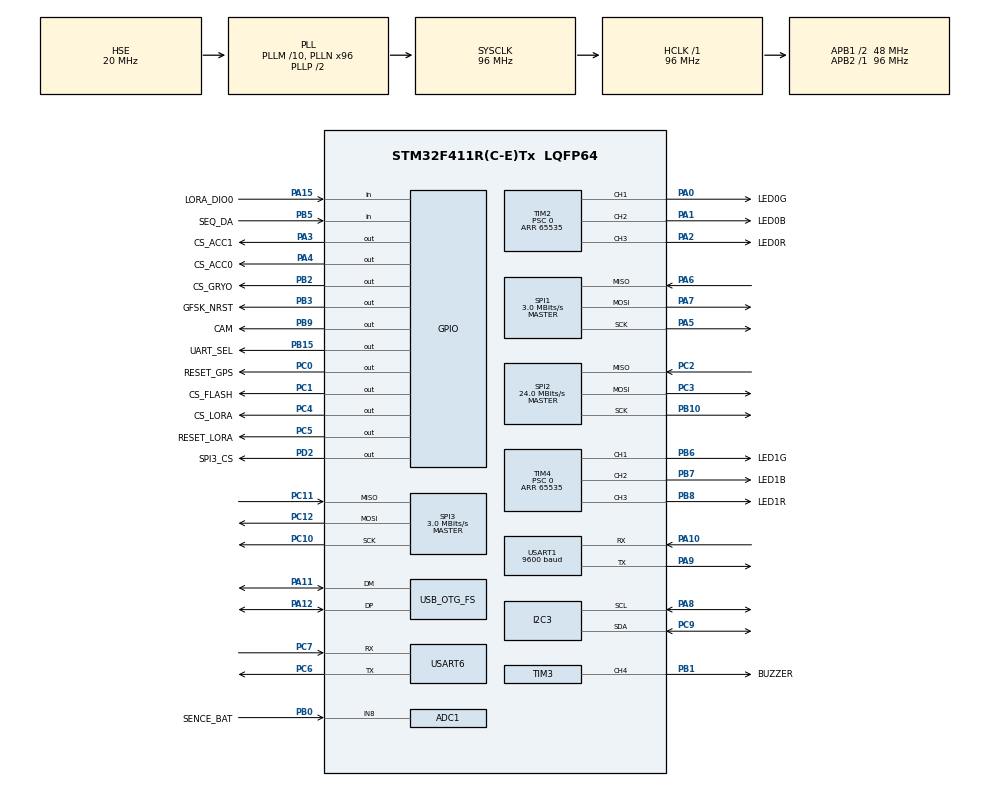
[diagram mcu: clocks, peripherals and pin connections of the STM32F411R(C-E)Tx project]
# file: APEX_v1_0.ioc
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ADC1.Channel-0\#ChannelRegularConversion=ADC_CHANNEL_8
ADC1.NbrOfConversionFlag=1
ADC1.Rank-0\#ChannelRegularConversion=1
ADC1.SamplingTime-0\#ChannelRegularConversion=ADC_SAMPLETIME_3CYCLES
ADC1.master=1
Dma.ADC1.8.Direction=DMA_PERIPH_TO_MEMORY
Dma.ADC1.8.FIFOMode=DMA_FIFOMODE_DISABLE
Dma.ADC1.8.Instance=DMA2_Stream4
Dma.ADC1.8.MemDataAlignment=DMA_MDATAALIGN_HALFWORD
Dma.ADC1.8.MemInc=DMA_MINC_ENABLE
Dma.ADC1.8.Mode=DMA_NORMAL
Dma.ADC1.8.PeriphDataAlignment=DMA_PDATAALIGN_HALFWORD
Dma.ADC1.8.PeriphInc=DMA_PINC_DISABLE
Dma.ADC1.8.Priority=DMA_PRIORITY_LOW
Dma.I2C3_RX.0.Direction=DMA_PERIPH_TO_MEMORY
Dma.I2C3_RX.0.FIFOMode=DMA_FIFOMODE_DISABLE
Dma.I2C3_RX.0.Instance=DMA1_Stream1
Dma.I2C3_RX.0.MemDataAlignment=DMA_MDATAALIGN_BYTE
Dma.I2C3_RX.0.MemInc=DMA_MINC_ENABLE
Dma.I2C3_RX.0.Mode=DMA_NORMAL
Dma.I2C3_RX.0.PeriphDataAlignment=DMA_PDATAALIGN_BYTE
Dma.I2C3_RX.0.PeriphInc=DMA_PINC_DISABLE
Dma.I2C3_RX.0.Priority=DMA_PRIORITY_LOW
Dma.I2C3_TX.1.Direction=DMA_MEMORY_TO_PERIPH
Dma.I2C3_TX.1.FIFOMode=DMA_FIFOMODE_DISABLE
Dma.I2C3_TX.1.Instance=DMA1_Stream5
Dma.I2C3_TX.1.MemDataAlignment=DMA_MDATAALIGN_BYTE
Dma.I2C3_TX.1.MemInc=DMA_MINC_ENABLE
Dma.I2C3_TX.1.Mode=DMA_NORMAL
Dma.I2C3_TX.1.PeriphDataAlignment=DMA_PDATAALIGN_BYTE
Dma.I2C3_TX.1.PeriphInc=DMA_PINC_DISABLE
Dma.I2C3_TX.1.Priority=DMA_PRIORITY_LOW
Dma.Request0=I2C3_RX
Dma.Request1=I2C3_TX
Dma.Request10=USART6_TX
Dma.Request11=SPI3_RX
Dma.Request12=SPI3_TX
Dma.Request2=SPI1_RX
Dma.Request3=SPI1_TX
Dma.Request4=SPI2_RX
Dma.Request5=SPI2_TX
Dma.Request6=USART1_RX
Dma.Request7=USART1_TX
Dma.Request8=ADC1
Dma.Request9=USART6_RX
Dma.SPI1_RX.2.Direction=DMA_PERIPH_TO_MEMORY
Dma.SPI1_RX.2.FIFOMode=DMA_FIFOMODE_DISABLE
Dma.SPI1_RX.2.Instance=DMA2_Stream0
Dma.SPI1_RX.2.MemDataAlignment=DMA_MDATAALIGN_BYTE
Dma.SPI1_RX.2.MemInc=DMA_MINC_ENABLE
Dma.SPI1_RX.2.Mode=DMA_NORMAL
Dma.SPI1_RX.2.PeriphDataAlignment=DMA_PDATAALIGN_BYTE
Dma.SPI1_RX.2.PeriphInc=DMA_PINC_DISABLE
Dma.SPI1_RX.2.Priority=DMA_PRIORITY_LOW
Dma.SPI1_TX.3.Direction=DMA_MEMORY_TO_PERIPH
Dma.SPI1_TX.3.FIFOMode=DMA_FIFOMODE_DISABLE
Dma.SPI1_TX.3.Instance=DMA2_Stream2
Dma.SPI1_TX.3.MemDataAlignment=DMA_MDATAALIGN_BYTE
Dma.SPI1_TX.3.MemInc=DMA_MINC_ENABLE
Dma.SPI1_TX.3.Mode=DMA_NORMAL
Dma.SPI1_TX.3.PeriphDataAlignment=DMA_PDATAALIGN_BYTE
Dma.SPI1_TX.3.PeriphInc=DMA_PINC_DISABLE
Dma.SPI1_TX.3.Priority=DMA_PRIORITY_LOW
Dma.SPI2_RX.4.Direction=DMA_PERIPH_TO_MEMORY
Dma.SPI2_RX.4.FIFOMode=DMA_FIFOMODE_DISABLE
Dma.SPI2_RX.4.Instance=DMA1_Stream3
Dma.SPI2_RX.4.MemDataAlignment=DMA_MDATAALIGN_BYTE
Dma.SPI2_RX.4.MemInc=DMA_MINC_ENABLE
Dma.SPI2_RX.4.Mode=DMA_NORMAL
Dma.SPI2_RX.4.PeriphDataAlignment=DMA_PDATAALIGN_BYTE
Dma.SPI2_RX.4.PeriphInc=DMA_PINC_DISABLE
Dma.SPI2_RX.4.Priority=DMA_PRIORITY_LOW
Dma.SPI2_TX.5.Direction=DMA_MEMORY_TO_PERIPH
Dma.SPI2_TX.5.FIFOMode=DMA_FIFOMODE_DISABLE
Dma.SPI2_TX.5.Instance=DMA1_Stream4
Dma.SPI2_TX.5.MemDataAlignment=DMA_MDATAALIGN_BYTE
Dma.SPI2_TX.5.MemInc=DMA_MINC_ENABLE
Dma.SPI2_TX.5.Mode=DMA_NORMAL
Dma.SPI2_TX.5.PeriphDataAlignment=DMA_PDATAALIGN_BYTE
Dma.SPI2_TX.5.PeriphInc=DMA_PINC_DISABLE
Dma.SPI2_TX.5.Priority=DMA_PRIORITY_LOW
Dma.SPI3_RX.11.Direction=DMA_PERIPH_TO_MEMORY
Dma.SPI3_RX.11.FIFOMode=DMA_FIFOMODE_DISABLE
Dma.SPI3_RX.11.Instance=DMA1_Stream0
Dma.SPI3_RX.11.MemDataAlignment=DMA_MDATAALIGN_BYTE
Dma.SPI3_RX.11.MemInc=DMA_MINC_ENABLE
Dma.SPI3_RX.11.Mode=DMA_NORMAL
Dma.SPI3_RX.11.PeriphDataAlignment=DMA_PDATAALIGN_BYTE
Dma.SPI3_RX.11.PeriphInc=DMA_PINC_DISABLE
Dma.SPI3_RX.11.Priority=DMA_PRIORITY_LOW
Dma.SPI3_TX.12.Direction=DMA_MEMORY_TO_PERIPH
Dma.SPI3_TX.12.FIFOMode=DMA_FIFOMODE_DISABLE
Dma.SPI3_TX.12.Instance=DMA1_Stream7
Dma.SPI3_TX.12.MemDataAlignment=DMA_MDATAALIGN_BYTE
Dma.SPI3_TX.12.MemInc=DMA_MINC_ENABLE
Dma.SPI3_TX.12.Mode=DMA_NORMAL
Dma.SPI3_TX.12.PeriphDataAlignment=DMA_PDATAALIGN_BYTE
Dma.SPI3_TX.12.PeriphInc=DMA_PINC_DISABLE
Dma.SPI3_TX.12.Priority=DMA_PRIORITY_LOW
Dma.USART1_RX.6.Direction=DMA_PERIPH_TO_MEMORY
Dma.USART1_RX.6.FIFOMode=DMA_FIFOMODE_DISABLE
Dma.USART1_RX.6.Instance=DMA2_Stream5
Dma.USART1_RX.6.MemDataAlignment=DMA_MDATAALIGN_BYTE
Dma.USART1_RX.6.MemInc=DMA_MINC_ENABLE
Dma.USART1_RX.6.Mode=DMA_NORMAL
Dma.USART1_RX.6.PeriphDataAlignment=DMA_PDATAALIGN_BYTE
Dma.USART1_RX.6.PeriphInc=DMA_PINC_DISABLE
Dma.USART1_RX.6.Priority=DMA_PRIORITY_LOW
Dma.USART1_TX.7.Direction=DMA_MEMORY_TO_PERIPH
Dma.USART1_TX.7.FIFOMode=DMA_FIFOMODE_DISABLE
Dma.USART1_TX.7.Instance=DMA2_Stream7
Dma.USART1_TX.7.MemDataAlignment=DMA_MDATAALIGN_BYTE
Dma.USART1_TX.7.MemInc=DMA_MINC_ENABLE
Dma.USART1_TX.7.Mode=DMA_NORMAL
Dma.USART1_TX.7.PeriphDataAlignment=DMA_PDATAALIGN_BYTE
Dma.USART1_TX.7.PeriphInc=DMA_PINC_DISABLE
Dma.USART1_TX.7.Priority=DMA_PRIORITY_LOW
Dma.USART6_RX.9.Direction=DMA_PERIPH_TO_MEMORY
Dma.USART6_RX.9.FIFOMode=DMA_FIFOMODE_DISABLE
Dma.USART6_RX.9.Instance=DMA2_Stream1
Dma.USART6_RX.9.MemDataAlignment=DMA_MDATAALIGN_BYTE
Dma.USART6_RX.9.MemInc=DMA_MINC_ENABLE
Dma.USART6_RX.9.Mode=DMA_NORMAL
Dma.USART6_RX.9.PeriphDataAlignment=DMA_PDATAALIGN_BYTE
Dma.USART6_RX.9.PeriphInc=DMA_PINC_DISABLE
Dma.USART6_RX.9.Priority=DMA_PRIORITY_LOW
Dma.USART6_TX.10.Direction=DMA_MEMORY_TO_PERIPH
Dma.USART6_TX.10.FIFOMode=DMA_FIFOMODE_DISABLE
Dma.USART6_TX.10.Instance=DMA2_Stream6
Dma.USART6_TX.10.MemDataAlignment=DMA_MDATAALIGN_BYTE
Dma.USART6_TX.10.MemInc=DMA_MINC_ENABLE
Dma.USART6_TX.10.Mode=DMA_NORMAL
Dma.USART6_TX.10.PeriphDataAlignment=DMA_PDATAALIGN_BYTE
Dma.USART6_TX.10.PeriphInc=DMA_PINC_DISABLE
Dma.USART6_TX.10.Priority=DMA_PRIORITY_LOW
FREERTOS.INCLUDE_pcTaskGetTaskName=1
FREERTOS.INCLUDE_uxTaskGetStackHighWaterMark2=1
FREERTOS.INCLUDE_vTaskCleanUpResources=1
FREERTOS.INCLUDE_xEventGroupSetBitFromISR=1
FREERTOS.INCLUDE_xSemaphoreGetMutexHolder=1
FREERTOS.INCLUDE_xTaskAbortDelay=1
FREERTOS.INCLUDE_xTaskGetHandle=1
FREERTOS.Tasks01=defaultTask,24,128,StartDefaultTask,Default,NULL,Static,defaultTaskBuffer,defaultTaskControlBlock
FREERTOS.configGENERATE_RUN_TIME_STATS=1
FREERTOS.configRECORD_STACK_HIGH_ADDRESS=1
FREERTOS.configUSE_APPLICATION_TASK_TAG=1
FREERTOS.configUSE_NEWLIB_REENTRANT=0
FREERTOS.configUSE_POSIX_ERRNO=1
FREERTOS.configUSE_STATS_FORMATTING_FUNCTIONS=1
FREERTOS.configUSE_TICKLESS_IDLE=2
FREERTOS.copyHeapFile=1
Mcu.Family=STM32F4
Mcu.Name=STM32F411R(C-E)Tx
Mcu.Package=LQFP64
NVIC.DMA1_Stream0_IRQn=true\:5\:0\:false\:false\:true\:true\:false\:true\:true
NVIC.DMA1_Stream1_IRQn=true\:5\:0\:false\:false\:true\:true\:false\:true\:true
NVIC.DMA1_Stream3_IRQn=true\:5\:0\:false\:false\:true\:true\:false\:true\:true
NVIC.DMA1_Stream4_IRQn=true\:5\:0\:false\:false\:true\:true\:false\:true\:true
NVIC.DMA1_Stream5_IRQn=true\:5\:0\:false\:false\:true\:true\:false\:true\:true
NVIC.DMA1_Stream7_IRQn=true\:5\:0\:false\:false\:true\:true\:false\:true\:true
NVIC.DMA2_Stream0_IRQn=true\:5\:0\:false\:false\:true\:true\:false\:true\:true
NVIC.DMA2_Stream1_IRQn=true\:5\:0\:false\:false\:true\:true\:false\:true\:true
NVIC.DMA2_Stream2_IRQn=true\:5\:0\:false\:false\:true\:true\:false\:true\:true
NVIC.DMA2_Stream4_IRQn=true\:5\:0\:false\:false\:true\:true\:false\:true\:true
NVIC.DMA2_Stream5_IRQn=true\:5\:0\:false\:false\:true\:true\:false\:true\:true
NVIC.DMA2_Stream6_IRQn=true\:5\:0\:false\:false\:true\:true\:false\:true\:true
NVIC.DMA2_Stream7_IRQn=true\:5\:0\:false\:false\:true\:true\:false\:true\:true
NVIC.OTG_FS_IRQn=true\:5\:0\:false\:false\:true\:true\:false\:true\:true
NVIC.PriorityGroup=NVIC_PRIORITYGROUP_4
NVIC.SPI3_IRQn=true\:5\:0\:false\:false\:true\:true\:true\:true\:true
NVIC.TIM1_TRG_COM_TIM11_IRQn=true\:5\:0\:false\:false\:true\:true\:true\:true\:true
NVIC.USART1_IRQn=true\:5\:0\:false\:false\:true\:true\:true\:true\:true
NVIC.USART6_IRQn=true\:5\:0\:false\:false\:true\:true\:true\:true\:true
PA0-WKUP.GPIO_Label=LED0G
PA0-WKUP.Signal=S_TIM2_CH1_ETR
PA1.GPIO_Label=LED0B
PA1.Signal=S_TIM2_CH2
PA10.Mode=Asynchronous
PA10.Signal=USART1_RX
PA11.Mode=Device_Only
PA11.Signal=USB_OTG_FS_DM
PA12.Mode=Device_Only
PA12.Signal=USB_OTG_FS_DP
PA13.Mode=Serial_Wire
PA13.Signal=SYS_JTMS-SWDIO
PA14.Mode=Serial_Wire
PA14.Signal=SYS_JTCK-SWCLK
PA15.GPIO_Label=LORA_DIO0
PA15.Signal=GPIO_Input
PA2.GPIO_Label=LED0R
PA2.Signal=S_TIM2_CH3
PA3.GPIO_Label=CS_ACC1
PA3.PinState=GPIO_PIN_SET
PA3.Signal=GPIO_Output
PA4.GPIO_Label=CS_ACC0
PA4.PinState=GPIO_PIN_SET
PA4.Signal=GPIO_Output
PA5.Mode=Full_Duplex_Master
PA5.Signal=SPI1_SCK
PA6.Mode=Full_Duplex_Master
PA6.Signal=SPI1_MISO
PA7.Mode=Full_Duplex_Master
PA7.Signal=SPI1_MOSI
PA8.Mode=I2C
PA8.Signal=I2C3_SCL
PA9.Mode=Asynchronous
PA9.Signal=USART1_TX
PB0.GPIO_Label=SENCE_BAT
PB0.Signal=ADCx_IN8
PB1.GPIO_Label=BUZZER
PB1.Signal=S_TIM3_CH4
PB10.Mode=Full_Duplex_Master
PB10.Signal=SPI2_SCK
PB15.GPIO_Label=UART_SEL
PB15.Signal=GPIO_Output
PB2.GPIO_Label=CS_GRYO
PB2.PinState=GPIO_PIN_SET
PB2.Signal=GPIO_Output
PB3.GPIO_Label=GFSK_NRST
PB3.PinState=GPIO_PIN_SET
PB3.Signal=GPIO_Output
PB5.GPIO_Label=SEQ_DA
PB5.Signal=GPIO_Input
PB6.GPIO_Label=LED1G
PB6.Signal=S_TIM4_CH1
PB7.GPIO_Label=LED1B
PB7.Signal=S_TIM4_CH2
PB8.GPIO_Label=LED1R
PB8.Signal=S_TIM4_CH3
PB9.GPIO_Label=CAM
PB9.Signal=GPIO_Output
PC0.GPIO_Label=RESET_GPS
PC0.PinState=GPIO_PIN_SET
PC0.Signal=GPIO_Output
PC1.GPIO_Label=CS_FLASH
PC1.PinState=GPIO_PIN_SET
PC1.Signal=GPIO_Output
PC10.Mode=Full_Duplex_Master
PC10.Signal=SPI3_SCK
PC11.Mode=Full_Duplex_Master
PC11.Signal=SPI3_MISO
PC12.Mode=Full_Duplex_Master
PC12.Signal=SPI3_MOSI
PC14-OSC32_IN.Mode=LSE-External-Oscillator
PC14-OSC32_IN.Signal=RCC_OSC32_IN
PC15-OSC32_OUT.Mode=LSE-External-Oscillator
PC15-OSC32_OUT.Signal=RCC_OSC32_OUT
PC2.Mode=Full_Duplex_Master
PC2.Signal=SPI2_MISO
PC3.Mode=Full_Duplex_Master
PC3.Signal=SPI2_MOSI
PC4.GPIO_Label=CS_LORA
PC4.PinState=GPIO_PIN_SET
PC4.Signal=GPIO_Output
PC5.GPIO_Label=RESET_LORA
PC5.PinState=GPIO_PIN_SET
PC5.Signal=GPIO_Output
PC6.Mode=Asynchronous
PC6.Signal=USART6_TX
PC7.Mode=Asynchronous
PC7.Signal=USART6_RX
PC9.Mode=I2C
PC9.Signal=I2C3_SDA
PD2.GPIO_Label=SPI3_CS
PD2.PinState=GPIO_PIN_SET
PD2.Signal=GPIO_Output
PH0\ -\ OSC_IN.Mode=HSE-External-Oscillator
PH0\ -\ OSC_IN.Signal=RCC_OSC_IN
PH1\ -\ OSC_OUT.Mode=HSE-External-Oscillator
PH1\ -\ OSC_OUT.Signal=RCC_OSC_OUT
ProjectManager.HeapSize=0x200
ProjectManager.StackSize=0x400
ProjectManager.TargetToolchain=CMake
RCC.48MHZClocksFreq_Value=48000000
RCC.AHBFreq_Value=96000000
RCC.APB1CLKDivider=RCC_HCLK_DIV2
RCC.APB1Freq_Value=48000000
RCC.APB1TimFreq_Value=96000000
RCC.APB2Freq_Value=96000000
RCC.APB2TimFreq_Value=96000000
RCC.CortexFreq_Value=96000000
RCC.HCLKFreq_Value=96000000
RCC.HSE_VALUE=20000000
RCC.HSI_VALUE=16000000
RCC.PLLM=10
RCC.PLLN=96
RCC.SYSCLKFreq_VALUE=96000000
RCC.SYSCLKSource=RCC_SYSCLKSOURCE_PLLCLK
RCC.VCOOutputFreq_Value=192000000
SH.ADCx_IN8.0=ADC1_IN8,IN8
SH.S_TIM2_CH1_ETR.0=TIM2_CH1,PWM Generation1 CH1
SH.S_TIM2_CH2.0=TIM2_CH2,PWM Generation2 CH2
SH.S_TIM2_CH3.0=TIM2_CH3,PWM Generation3 CH3
SH.S_TIM3_CH4.0=TIM3_CH4,PWM Generation4 CH4
SH.S_TIM4_CH1.0=TIM4_CH1,PWM Generation1 CH1
SH.S_TIM4_CH2.0=TIM4_CH2,PWM Generation2 CH2
SH.S_TIM4_CH3.0=TIM4_CH3,PWM Generation3 CH3
SPI1.BaudRatePrescaler=SPI_BAUDRATEPRESCALER_32
SPI1.CalculateBaudRate=3.0 MBits/s
SPI1.Direction=SPI_DIRECTION_2LINES
SPI1.Mode=SPI_MODE_MASTER
SPI1.VirtualType=VM_MASTER
SPI2.CalculateBaudRate=24.0 MBits/s
SPI2.Direction=SPI_DIRECTION_2LINES
SPI2.Mode=SPI_MODE_MASTER
SPI2.VirtualType=VM_MASTER
SPI3.BaudRatePrescaler=SPI_BAUDRATEPRESCALER_16
SPI3.CalculateBaudRate=3.0 MBits/s
SPI3.Direction=SPI_DIRECTION_2LINES
SPI3.Mode=SPI_MODE_MASTER
SPI3.VirtualType=VM_MASTER
TIM2.Channel-PWM\ Generation1\ CH1=TIM_CHANNEL_1
TIM2.Channel-PWM\ Generation2\ CH2=TIM_CHANNEL_2
TIM2.Channel-PWM\ Generation3\ CH3=TIM_CHANNEL_3
TIM2.Period=65535
TIM2.Prescaler=0
TIM3.Channel-PWM\ Generation4\ CH4=TIM_CHANNEL_4
TIM3.Period=65535
TIM3.Prescaler=0
TIM4.Channel-PWM\ Generation1\ CH1=TIM_CHANNEL_1
TIM4.Channel-PWM\ Generation2\ CH2=TIM_CHANNEL_2
TIM4.Channel-PWM\ Generation3\ CH3=TIM_CHANNEL_3
TIM4.Period=65535
TIM4.Prescaler=0
TIM9.Period=65535-1
TIM9.Prescaler=1-1
USART1.BaudRate=9600
USART1.VirtualMode=VM_ASYNC
USART6.VirtualMode=VM_ASYNC
USB_DEVICE.CLASS_NAME_FS=CDC
USB_DEVICE.VirtualMode=Cdc
USB_DEVICE.VirtualModeFS=Cdc_FS
USB_OTG_FS.VirtualMode=Device_Only
VP_CRC_VS_CRC.Mode=CRC_Activate
VP_FREERTOS_VS_CMSIS_V2.Mode=CMSIS_V2
VP_TIM11_VS_ClockSourceINT.Mode=Enable_Timer
VP_TIM2_VS_ClockSourceINT.Mode=Internal
VP_TIM3_VS_ClockSourceINT.Mode=Internal
VP_TIM4_VS_ClockSourceINT.Mode=Internal
VP_TIM9_VS_ClockSourceINT.Mode=Internal
VP_USB_DEVICE_VS_USB_DEVICE_CDC_FS.Mode=CDC_FS
board=custom

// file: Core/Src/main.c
/* USER CODE BEGIN Header */
/**
 ******************************************************************************
 * @file           : main.c
 * @brief          : Main program body
 ******************************************************************************
 * @attention
 *
 * Copyright (c) 2025 STMicroelectronics.
 * All rights reserved.
 *
 * This software is licensed under terms that can be found in the LICENSE file
 * in the root directory of this software component.
 * If no LICENSE file comes with this software, it is provided AS-IS.
 *
 ******************************************************************************
 */
/* USER CODE END Header */
#include "main.h"
#include "cmsis_os.h"
#include "adc.h"
#include "crc.h"
#include "dma.h"
#include "i2c.h"
#include "spi.h"
#include "tim.h"
#include "usart.h"
#include "usb_device.h"
#include "gpio.h"

/* USER CODE BEGIN Includes */

#include "usbd_cdc_if.h"

#include "project.h"

#include "adc.h"
#include "crc.h"
#include "dma.h"
#include "i2c.h"
#include "spi.h"
#include "tim.h"
#include "usart.h"
#include "gpio.h"

/* USER CODE END Includes */

void SystemClock_Config(void);
void MX_FREERTOS_Init(void);
/* USER CODE BEGIN PFP */
const char TASK_Program_start_name[19] = "TASK_Program_start";
/* USER CODE END PFP */

int main(void)
{

  /* MCU Configuration--------------------------------------------------------*/

  /* Reset of all peripherals, Initializes the Flash interface and the Systick. */
  HAL_Init();

  /* Configure the system clock */
  SystemClock_Config();

  /* Initialize all configured peripherals */
  MX_GPIO_Init();
  MX_DMA_Init();
  MX_I2C3_Init();
  MX_SPI2_Init();
  MX_TIM2_Init();
  MX_TIM4_Init();
  MX_USART1_UART_Init();
  MX_ADC1_Init();
  MX_SPI1_Init();
  MX_TIM3_Init();
  MX_CRC_Init();
  MX_TIM11_Init();
  MX_TIM9_Init();
  MX_SPI3_Init();
  MX_USART6_UART_Init();
  /* USER CODE BEGIN 2 */

	// MX_USB_DEVICE_Init();

#if (APEX_CFG_SCHED_SEQ == 1)
	DRIVERS_CONFIG_init_result_t Drivers_Init_Seq_result;
	DRIVERS_CONFIG_init_seq(&Drivers_Init_Seq_result);
	// Later on, we can implement more specific error handling based on the
	// type of failure. DRIVERS_CONFIG_init_seq could return different error codes for
	// different initialization failures or write on struct saying which module is
	// init and which isn't, etc. For now, we just do a generic error handler.

	setup();

#endif

#if (APEX_CFG_SCHED_RTOS == 1)
  /* USER CODE END 2 */

  /* Init scheduler */
  osKernelInitialize();  /* Call init function for freertos objects (in cmsis_os2.c) */
  MX_FREERTOS_Init();

  /* Start scheduler */
  osKernelStart();

  /* We should never get here as control is now taken by the scheduler */

  /* Infinite loop */
  /* USER CODE BEGIN WHILE */
#endif

	while (1) {
#if (APEX_CFG_SCHED_SEQ == 1)
		loop();
#endif
    /* USER CODE END WHILE */

	}
}

void SystemClock_Config(void)
{
  RCC_OscInitTypeDef RCC_OscInitStruct = {0};
  RCC_ClkInitTypeDef RCC_ClkInitStruct = {0};

  /** Configure the main internal regulator output voltage
  */
  __HAL_RCC_PWR_CLK_ENABLE();
  __HAL_PWR_VOLTAGESCALING_CONFIG(PWR_REGULATOR_VOLTAGE_SCALE1);

  /** Initializes the RCC Oscillators according to the specified parameters
  * in the RCC_OscInitTypeDef structure.
  */
  RCC_OscInitStruct.OscillatorType = RCC_OSCILLATORTYPE_HSE;
  RCC_OscInitStruct.HSEState = RCC_HSE_ON;
  RCC_OscInitStruct.PLL.PLLState = RCC_PLL_ON;
  RCC_OscInitStruct.PLL.PLLSource = RCC_PLLSOURCE_HSE;
  RCC_OscInitStruct.PLL.PLLM = 10;
  RCC_OscInitStruct.PLL.PLLN = 96;
  RCC_OscInitStruct.PLL.PLLP = RCC_PLLP_DIV2;
  RCC_OscInitStruct.PLL.PLLQ = 4;
  if (HAL_RCC_OscConfig(&RCC_OscInitStruct) != HAL_OK)
  {
    Error_Handler();
  }

  /** Initializes the CPU, AHB and APB buses clocks
  */
  RCC_ClkInitStruct.ClockType = RCC_CLOCKTYPE_HCLK|RCC_CLOCKTYPE_SYSCLK
                              |RCC_CLOCKTYPE_PCLK1|RCC_CLOCKTYPE_PCLK2;
  RCC_ClkInitStruct.SYSCLKSource = RCC_SYSCLKSOURCE_PLLCLK;
  RCC_ClkInitStruct.AHBCLKDivider = RCC_SYSCLK_DIV1;
  RCC_ClkInitStruct.APB1CLKDivider = RCC_HCLK_DIV2;
  RCC_ClkInitStruct.APB2CLKDivider = RCC_HCLK_DIV1;

  if (HAL_RCC_ClockConfig(&RCC_ClkInitStruct, FLASH_LATENCY_3) != HAL_OK)
  {
    Error_Handler();
  }
}

void HAL_TIM_PeriodElapsedCallback(TIM_HandleTypeDef *htim)
{
  if (htim->Instance == TIM10)
  {
    HAL_IncTick();
  }
}

void Error_Handler(void)
{
  /* USER CODE BEGIN Error_Handler_Debug */
  /* User can add his own implementation to report the HAL error return state */
  __disable_irq();

  HAL_GPIO_TogglePin(LED0B_GPIO_Port, LED0B_Pin);
  while (1) {
  }
  /* USER CODE END Error_Handler_Debug */
}
#ifdef USE_FULL_ASSERT
/**
  * @brief  Reports the name of the source file and the source line number
  *         where the assert_param error has occurred.
  * @param  file: pointer to the source file name
  * @param  line: assert_param error line source number
  * @retval None
  */
void assert_failed(uint8_t *file, uint32_t line)
{
  /* USER CODE BEGIN 6 */
  /* User can add his own implementation to report the file name and line
     number, ex: printf("Wrong parameters value: file %s on line %d\r\n", file,
     line) */
	while (1);
  /* USER CODE END 6 */
}
#endif /* USE_FULL_ASSERT */

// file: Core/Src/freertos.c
/* USER CODE BEGIN Header */
/**
  ******************************************************************************
  * File Name          : freertos.c
  * Description        : Code for freertos applications
  ******************************************************************************
  * @attention
  *
  * Copyright (c) 2025 STMicroelectronics.
  * All rights reserved.
  *
  * This software is licensed under terms that can be found in the LICENSE file
  * in the root directory of this software component.
  * If no LICENSE file comes with this software, it is provided AS-IS.
  *
  ******************************************************************************
  */
/* USER CODE END Header */

#include "FreeRTOS.h"
#include "task.h"
#include "main.h"
#include "cmsis_os.h"

/* USER CODE BEGIN Includes */
#include "tim.h"
/* USER CODE END Includes */

typedef StaticTask_t osStaticThreadDef_t;
typedef StaticSemaphore_t osStaticMutexDef_t;
typedef StaticEventGroup_t osStaticEventGroupDef_t;

/* Definitions for defaultTask */

void StartDefaultTask(void *argument);

extern void MX_USB_DEVICE_Init(void);
void MX_FREERTOS_Init(void); /* (MISRA C 2004 rule 8.1) */

/* Hook prototypes */
void configureTimerForRunTimeStats(void);
unsigned long getRunTimeCounterValue(void);

/* USER CODE BEGIN 1 */
/* Functions needed when configGENERATE_RUN_TIME_STATS is on */
__weak void configureTimerForRunTimeStats(void)
{
	HAL_TIM_Base_Start_IT(&htim11);
}

extern volatile unsigned long ulHighFrequencyTimerTicks;
__weak unsigned long getRunTimeCounterValue(void)
{
return ulHighFrequencyTimerTicks;
}
/* USER CODE END 1 */

/* USER CODE BEGIN VPORT_SUPPORT_TICKS_AND_SLEEP */
__weak void vPortSuppressTicksAndSleep( TickType_t xExpectedIdleTime )
{
  // Generated when configUSE_TICKLESS_IDLE == 2.
  // Function called in tasks.c (in portTASK_FUNCTION).
  // TO BE COMPLETED or TO BE REPLACED by a user one, overriding that weak one.
}
/* USER CODE END VPORT_SUPPORT_TICKS_AND_SLEEP */

void MX_FREERTOS_Init(void) {

  /* Create the thread(s) */

}

void StartDefaultTask(void *argument)
{
  /* init code for USB_DEVICE */
  MX_USB_DEVICE_Init();
  for(;;)
  {
    osDelay(1);
  }
}
